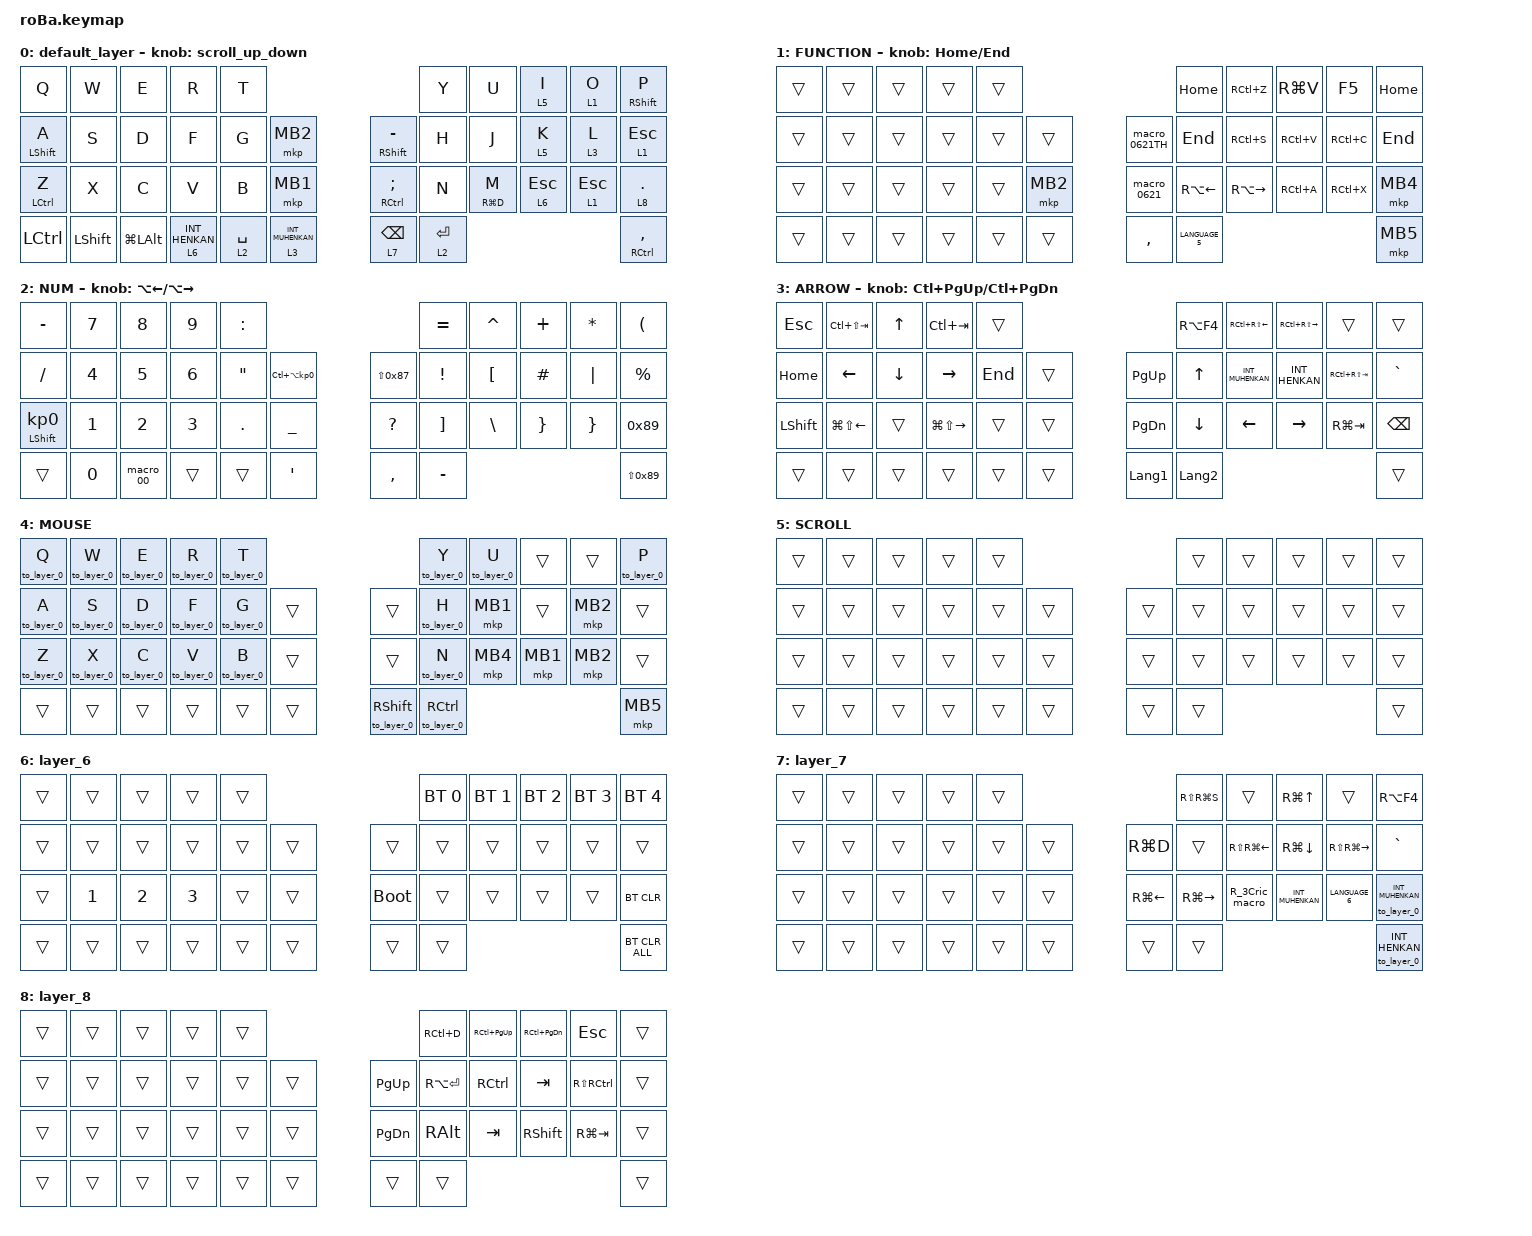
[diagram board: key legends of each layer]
#include <behaviors.dtsi>
#include <dt-bindings/zmk/bt.h>
#include <dt-bindings/zmk/keys.h>
#include <dt-bindings/zmk/pointing.h>

#define ZMK_POINTING_DEFAULT_SCRL_VAL 65
#define MOUSE 4
#define SCROLL 5
#define NUM 6

// OS設定を日本語キーボードのまま使用するための変換定義

#define JP_DQUOTE       AT                // "
#define JP_AMPERSAND    CARET             // &
#define JP_QUOTE        AMPERSAND         // '
#define JP_EQUAL        UNDER             // =
#define JP_CARET        EQUAL             // ^
#define JP_YEN          0x89              // ¥
#define JP_PLUS         COLON             // +
#define JP_TILDE        PLUS              // ~
#define JP_PIPE         LS(0x89)          // |
#define JP_AT           LEFT_BRACKET      // @
#define JP_COLON        SINGLE_QUOTE      // :
#define JP_ASTERISK     DOUBLE_QUOTES     // *
#define JP_BACKQUOTE    LEFT_BRACE        // `
#define JP_UNDERSCORE   LS(0x87)          // _
#define JP_LBRACKET     RIGHT_BRACKET     // [
#define JP_RBRACKET     BACKSLASH         // ]
#define JP_LPAREN       ASTERISK          // (
#define JP_RPAREN       LEFT_PARENTHESIS  // )
#define JP_LBRACE       RIGHT_BRACE       // {
#define JP_RBRACE       PIPE              // }
#define JP_KANA         LANGUAGE_1        // かな
#define JP_EISU         LANGUAGE_2        // 英数
#define JP_HANZEN       GRAVE             // 半角/全角

&mt {
    flavor = "balanced";
    quick-tap-ms = <0>;
};

/ {
    combos {
        compatible = "zmk,combos";

        tab {
            bindings = <&kp TAB>;
            key-positions = <11 12>;
        };

        shift_tab {
            bindings = <&kp LS(TAB)>;
            key-positions = <0 10>;
        };

        muhennkann {
            bindings = <&to_layer_0 INT_MUHENKAN>;
            key-positions = <11 10>;
        };

        eq {
            bindings = <&kp EQUAL>;
            key-positions = <2 3>;
        };

        F5_DSP {
            bindings = <&kp F5>;
            key-positions = <21 8>;
        };

        TAB_Key {
            bindings = <&kp TAB>;
            key-positions = <20 19>;
        };

        Control_V {
            bindings = <&kp RC(V)>;
            key-positions = <21 19>;
        };

        Control_X {
            bindings = <&kp RC(X)>;
            key-positions = <21 32>;
        };

        Win_V {
            bindings = <&kp RG(V)>;
            key-positions = <21 7>;
        };

        Home_key {
            bindings = <&kp HOME>;
            key-positions = <21 5>;
        };

        End_key {
            bindings = <&kp END>;
            key-positions = <21 17>;
        };

        Alt_left {
            bindings = <&kp RA(LEFT)>;
            key-positions = <21 29>;
        };

        Alt_Right {
            bindings = <&kp RA(RIGHT_ARROW)>;
            key-positions = <21 30>;
        };

        CntZ_Key {
            bindings = <&kp RC(Z)>;
            key-positions = <41 9>;
        };

        bar-key {
            bindings = <&kp MINUS>;
            key-positions = <19 18>;
        };

        SP-Key {
            bindings = <&kp SPACE>;
            key-positions = <7 6>;
        };

        CNT_ALT_TAB {
            bindings = <&kp RA(RC(TAB))>;
            key-positions = <32 33 33>;
        };

        hankakuSP-key {
            bindings = <&kp RS(SPACE)>;
            key-positions = <6 7 8>;
        };

        CntALL-Key {
            bindings = <&kp RC(A)>;
            key-positions = <41 33>;
        };

        zenhankaku_kirikae_key {
            bindings = <&kp GRAVE>;
            key-positions = <21 41>;
        };

        ControlZ {
            bindings = <&kp RC(Z)>;
            key-positions = <18 20>;
        };

        ControlY {
            bindings = <&kp RC(Y)>;
            key-positions = <18 21>;
        };

        Zenhankaku_key {
            bindings = <&kp GRAVE>;
            key-positions = <21 20>;
        };

        L5Scr2 {
            bindings = <&lt 5 ESCAPE>;
            key-positions = <32 31>;
        };

        ESC2 {
            bindings = <&kp ESC>;
            key-positions = <9 8>;
        };

        DotMaru {
            bindings = <&kp DOT>;
            key-positions = <33 32>;
        };

        conma2 {
            bindings = <&kp COMMA>;
            key-positions = <31 30>;
        };

        L5Scr3 {
            bindings = <&lt 5 ESCAPE>;
            key-positions = <26 27>;
        };

        COPY2 {
            bindings = <&kp RC(C)>;
            key-positions = <20 19 21>;
        };

        Paste {
            bindings = <&kp RC(V)>;
            key-positions = <9 8 7>;
        };

        Cut {
            bindings = <&kp X>;
            key-positions = <33 32 31>;
        };
    };

    macros {
        to_layer_0: to_layer_0 {
            compatible = "zmk,behavior-macro-one-param";
            #binding-cells = <1>;
            bindings = <&to 0 &macro_param_1to1 &kp MACRO_PLACEHOLDER>;
            label = "TO_LAYER_0";
        };

        mkp_exit_AML: mkp_exit_AML {
            compatible = "zmk,behavior-macro-one-param";
            #binding-cells = <1>;
            bindings =
                <&macro_press>,
                <&macro_param_1to1 &mkp MACRO_PLACEHOLDER>,
                <&macro_pause_for_release>,
                <&macro_release>,
                <&macro_param_1to1 &mkp MACRO_PLACEHOLDER>,
                <&macro_tap>,
                <&sl 4>;

            label = "MKP_EXIT_AML";
        };

        macro_00: macro_00 {
            compatible = "zmk,behavior-macro";
            #binding-cells = <0>;
            bindings = <&kp NUMBER_0 &kp NUMBER_0>;
            label = "MACRO_00";
        };

        macro_0621TH: macro_0621TH {
            compatible = "zmk,behavior-macro";
            #binding-cells = <0>;
            bindings = <&kp H &kp A &kp G &kp I &kp LS(0x87) &kp NUMBER_0 &kp NUMBER_6 &kp NUMBER_2 &kp NUMBER_1 &kp RS(T) &kp RS(H)>;
            label = "MACRO_0621TH";
        };

        macro_ESC_zenhankaku: macro_ESC_zenhankaku {
            compatible = "zmk,behavior-macro";
            #binding-cells = <0>;
            bindings = <&kp ESC &kp GRAVE>;
            label = "MACRO_ESC_ZENHANKAKU";
        };

        macro_0621: macro_0621 {
            compatible = "zmk,behavior-macro";
            #binding-cells = <0>;
            bindings = <&kp NUMBER_0 &kp NUMBER_6 &kp NUMBER_2 &kp NUMBER_1>;
            label = "MACRO_0621";
        };

        macro_J: macro_J {
            compatible = "zmk,behavior-macro";
            #binding-cells = <0>;
            bindings = <&kp RC(Z)>;
            label = "MACRO_J";
        };

        R_3Cric_macro: R_3Cric_macro {
            compatible = "zmk,behavior-macro";
            #binding-cells = <0>;
            bindings = <&mkp MB2 &mkp MB2 &mkp MB2>;
            label = "R_3CRIC_MACRO";
            wait-ms = <1>;
            tap-ms = <1>;
        };
    };

    behaviors {
        lt_to_layer_0: lt_to_layer_0 {
            compatible = "zmk,behavior-hold-tap";
            label = "LAYER_TAP_TO_0";
            bindings = <&mo>, <&to_layer_0>;

            #binding-cells = <2>;
            tapping-term-ms = <200>;
        };

        scroll_up_down: behavior_sensor_rotate_mouse_wheel_up_down {
            compatible = "zmk,behavior-sensor-rotate";
            #sensor-binding-cells = <0>;
            bindings = <&msc SCRL_DOWN>, <&msc SCRL_UP>;

            tap-ms = <20>;
        };
    };

    keymap {
        compatible = "zmk,keymap";

        default_layer {
            bindings = <
&kp Q               &kp W           &kp E             &kp R                        &kp T                                                                        &kp Y        &kp U        &lt 5 I    &lt 1 O       &mt RSHFT P
&mt LEFT_SHIFT A    &kp S           &kp D             &kp F                        &kp G        &mkp MB2                           &mt RIGHT_SHIFT MINUS        &kp H        &kp J        &lt 5 K    &lt 3 L       &lt 1 ESC
&mt LEFT_CONTROL Z  &kp X           &kp C             &kp V                        &kp B        &mkp MB1                           &mt RIGHT_CONTROL SEMICOLON  &kp N        &mt RG(D) M  &lt 6 ESC  &lt 1 ESCAPE  &lt 8 DOT
&kp LCTRL           &kp LEFT_SHIFT  &kp LG(LEFT_ALT)  &lt_to_layer_0 6 INT_HENKAN  &lt 2 SPACE  &lt_to_layer_0 3 INT_MUHENKAN      &lt 7 BACKSPACE              &lt 2 ENTER                                        &mt RIGHT_CONTROL COMMA
            >;

            sensor-bindings = <&scroll_up_down>;
        };

        FUNCTION {
            bindings = <
&trans  &trans  &trans  &trans  &trans                               &kp HOME            &kp RC(Z)            &kp RG(V)  &kp F5     &kp HOME
&trans  &trans  &trans  &trans  &trans  &trans        &macro_0621TH  &kp END             &kp RC(S)            &kp RC(V)  &kp RC(C)  &kp END
&trans  &trans  &trans  &trans  &trans  &mkp MB2      &macro_0621    &kp RA(LEFT_ARROW)  &kp RA(RIGHT_ARROW)  &kp RC(A)  &kp RC(X)  &mkp MB4
&trans  &trans  &trans  &trans  &trans  &trans        &kp COMMA      &kp LANGUAGE_5                                                 &mkp MB5
            >;

            sensor-bindings = <&inc_dec_kp HOME END>;
        };

        NUM {
            bindings = <
&kp MINUS                   &kp NUMBER_7  &kp NUMBER_8  &kp NUMBER_9  &kp COLON                                                     &kp EQUAL          &kp CARET         &kp PLUS         &kp ASTERISK     &kp LEFT_PARENTHESIS
&kp SLASH                   &kp NUMBER_4  &kp NUMBER_5  &kp NUMBER_6  &kp DOUBLE_QUOTES  &kp LC(LA(KP_NUMBER_0))      &kp LS(0x87)  &kp EXCLAMATION    &kp LEFT_BRACKET  &kp HASH         &kp PIPE         &kp PERCENT
&mt LEFT_SHIFT KP_NUMBER_0  &kp NUMBER_1  &kp NUMBER_2  &kp NUMBER_3  &kp PERIOD         &kp UNDER                    &kp QUESTION  &kp RIGHT_BRACKET  &kp BACKSLASH     &kp RIGHT_BRACE  &kp RIGHT_BRACE  &kp 0x89
&trans                      &kp NUMBER_0  &macro_00     &trans        &trans             &kp SINGLE_QUOTE             &kp COMMA     &kp MINUS                                                              &kp LS(0x89)
            >;

            sensor-bindings = <&inc_dec_kp LA(LEFT_ARROW) LA(RIGHT_ARROW)>;
        };

        ARROW {
            bindings = <
&kp ESCAPE      &kp LC(LS(TAB))         &kp UP_ARROW    &kp LC(TAB)              &trans                               &kp RA(F4)      &kp RC(RS(LEFT_ARROW))  &kp RC(RS(RIGHT_ARROW))  &trans           &trans
&kp HOME        &kp LEFT_ARROW          &kp DOWN_ARROW  &kp RIGHT_ARROW          &kp END  &trans      &kp PAGE_UP     &kp UP_ARROW    &kp INT_MUHENKAN        &kp INT_HENKAN           &kp RC(RS(TAB))  &kp GRAVE
&kp LEFT_SHIFT  &kp LG(LS(LEFT_ARROW))  &trans          &kp LG(LS(RIGHT_ARROW))  &trans   &trans      &kp PAGE_DOWN   &kp DOWN_ARROW  &kp LEFT_ARROW          &kp RIGHT_ARROW          &kp RG(TAB)      &kp BACKSPACE
&trans          &trans                  &trans          &trans                   &trans   &trans      &kp LANGUAGE_1  &kp LANGUAGE_2                                                                    &trans
            >;

            sensor-bindings = <&inc_dec_kp LC(PAGE_UP) LC(PAGE_DOWN)>;
        };

        MOUSE {
            bindings = <
&to_layer_0 Q  &to_layer_0 W  &to_layer_0 E  &to_layer_0 R  &to_layer_0 T                                       &to_layer_0 Y              &to_layer_0 U  &trans    &trans    &to_layer_0 P
&to_layer_0 A  &to_layer_0 S  &to_layer_0 D  &to_layer_0 F  &to_layer_0 G  &trans      &trans                   &to_layer_0 H              &mkp MB1       &trans    &mkp MB2  &trans
&to_layer_0 Z  &to_layer_0 X  &to_layer_0 C  &to_layer_0 V  &to_layer_0 B  &trans      &trans                   &to_layer_0 N              &mkp MB4       &mkp MB1  &mkp MB2  &trans
&trans         &trans         &trans         &trans         &trans         &trans      &to_layer_0 RIGHT_SHIFT  &to_layer_0 RIGHT_CONTROL                                     &mkp MB5
            >;
        };

        SCROLL {
            bindings = <
&trans  &trans  &trans  &trans  &trans                      &trans  &trans  &trans  &trans  &trans
&trans  &trans  &trans  &trans  &trans  &trans      &trans  &trans  &trans  &trans  &trans  &trans
&trans  &trans  &trans  &trans  &trans  &trans      &trans  &trans  &trans  &trans  &trans  &trans
&trans  &trans  &trans  &trans  &trans  &trans      &trans  &trans                          &trans
            >;
        };

        layer_6 {
            bindings = <
&trans  &trans        &trans        &trans        &trans                           &bt BT_SEL 0  &bt BT_SEL 1  &bt BT_SEL 2  &bt BT_SEL 3  &bt BT_SEL 4
&trans  &trans        &trans        &trans        &trans  &trans      &trans       &trans        &trans        &trans        &trans        &trans
&trans  &kp NUMBER_1  &kp NUMBER_2  &kp NUMBER_3  &trans  &trans      &bootloader  &trans        &trans        &trans        &trans        &bt BT_CLR
&trans  &trans        &trans        &trans        &trans  &trans      &trans       &trans                                                  &bt BT_CLR_ALL
            >;
        };

        layer_7 {
            bindings = <
&trans  &trans  &trans  &trans  &trans                                  &kp RS(RG(S))        &trans            &kp RG(UP_ARROW)    &trans                   &kp RA(F4)
&trans  &trans  &trans  &trans  &trans  &trans      &kp RG(D)           &trans               &kp RS(RG(LEFT))  &kp RG(DOWN_ARROW)  &kp RS(RG(RIGHT_ARROW))  &kp GRAVE
&trans  &trans  &trans  &trans  &trans  &trans      &kp RG(LEFT_ARROW)  &kp RG(RIGHT_ARROW)  &R_3Cric_macro    &kp INT_MUHENKAN    &kp LANGUAGE_6           &to_layer_0 INT_MUHENKAN
&trans  &trans  &trans  &trans  &trans  &trans      &trans              &trans                                                                              &to_layer_0 INT_HENKAN
            >;
        };

        layer_8 {
            bindings = <
&trans  &trans  &trans  &trans  &trans                             &kp RC(D)      &kp RC(PAGE_UP)    &kp RC(PAGE_DOWN)  &kp ESCAPE             &trans
&trans  &trans  &trans  &trans  &trans  &trans      &kp PAGE_UP    &kp RA(ENTER)  &kp RIGHT_CONTROL  &kp TAB            &kp RS(RIGHT_CONTROL)  &trans
&trans  &trans  &trans  &trans  &trans  &trans      &kp PAGE_DOWN  &kp RIGHT_ALT  &kp TAB            &kp RIGHT_SHIFT    &kp RG(TAB)            &trans
&trans  &trans  &trans  &trans  &trans  &trans      &trans         &trans                                                                      &trans
            >;
        };
    };
};
